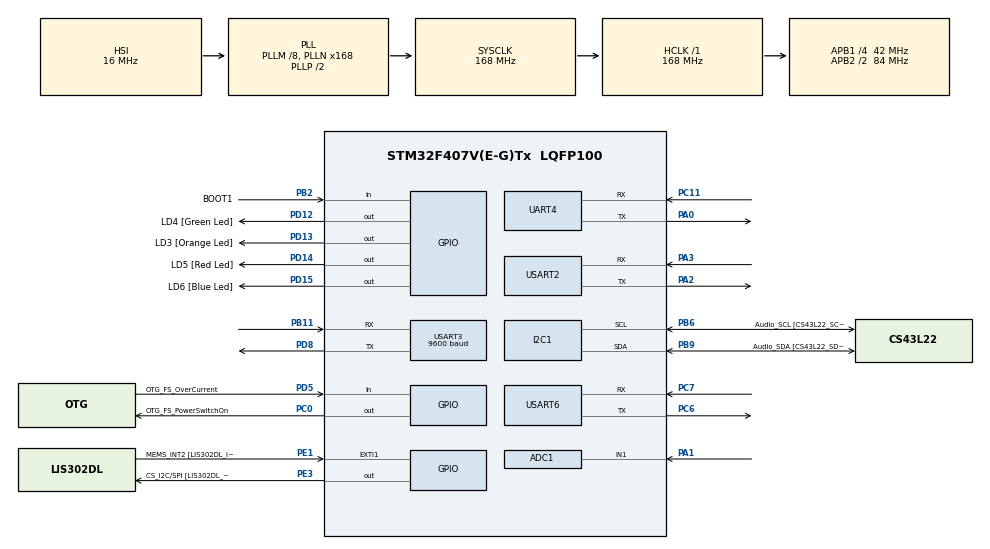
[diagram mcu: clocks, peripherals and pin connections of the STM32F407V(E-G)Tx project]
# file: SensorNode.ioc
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ADC1.Channel-0\#ChannelRegularConversion=ADC_CHANNEL_1
ADC1.NbrOfConversionFlag=1
ADC1.Rank-0\#ChannelRegularConversion=1
ADC1.SamplingTime-0\#ChannelRegularConversion=ADC_SAMPLETIME_3CYCLES
ADC1.master=1
Dma.Request0=USART2_TX
Dma.USART2_TX.0.Direction=DMA_MEMORY_TO_PERIPH
Dma.USART2_TX.0.FIFOMode=DMA_FIFOMODE_DISABLE
Dma.USART2_TX.0.Instance=DMA1_Stream6
Dma.USART2_TX.0.MemDataAlignment=DMA_MDATAALIGN_BYTE
Dma.USART2_TX.0.MemInc=DMA_MINC_ENABLE
Dma.USART2_TX.0.Mode=DMA_NORMAL
Dma.USART2_TX.0.PeriphDataAlignment=DMA_PDATAALIGN_BYTE
Dma.USART2_TX.0.PeriphInc=DMA_PINC_DISABLE
Dma.USART2_TX.0.Priority=DMA_PRIORITY_LOW
Mcu.Family=STM32F4
Mcu.Name=STM32F407V(E-G)Tx
Mcu.Package=LQFP100
NVIC.DMA1_Stream6_IRQn=true\:0\:0\:false\:false\:true\:false\:true\:true
NVIC.PriorityGroup=NVIC_PRIORITYGROUP_4
NVIC.TIM6_DAC_IRQn=true\:0\:0\:false\:false\:true\:false\:true\:true
NVIC.TimeBase=TIM6_DAC_IRQn
NVIC.TimeBaseIP=TIM6
NVIC.USART2_IRQn=true\:0\:0\:false\:false\:true\:true\:true\:true
NVIC.USART6_IRQn=true\:0\:0\:false\:false\:true\:true\:true\:true
PA0-WKUP.Mode=Asynchronous
PA0-WKUP.Signal=UART4_TX
PA1.Signal=ADCx_IN1
PA10.GPIO_Label=OTG_FS_ID
PA10.GPIO_Mode=GPIO_MODE_AF_PP
PA10.GPIO_PuPd=GPIO_NOPULL
PA10.GPIO_Speed=GPIO_SPEED_FREQ_LOW
PA10.Signal=USB_OTG_FS_ID
PA11.GPIO_Label=OTG_FS_DM
PA11.GPIO_Mode=GPIO_MODE_AF_PP
PA11.GPIO_PuPd=GPIO_NOPULL
PA11.GPIO_Speed=GPIO_SPEED_FREQ_LOW
PA11.Signal=USB_OTG_FS_DM
PA12.GPIO_Label=OTG_FS_DP
PA12.GPIO_Mode=GPIO_MODE_AF_PP
PA12.GPIO_PuPd=GPIO_NOPULL
PA12.GPIO_Speed=GPIO_SPEED_FREQ_LOW
PA12.Signal=USB_OTG_FS_DP
PA13.GPIO_Label=SWDIO
PA13.Signal=SYS_JTMS-SWDIO
PA14.GPIO_Label=SWCLK
PA14.Signal=SYS_JTCK-SWCLK
PA2.Mode=Asynchronous
PA2.Signal=USART2_TX
PA3.Mode=Asynchronous
PA3.Signal=USART2_RX
PA4.GPIO_Label=I2S3_WS [CS43L22_LRCK]
PA4.GPIO_Mode=GPIO_MODE_AF_PP
PA4.GPIO_PuPd=GPIO_NOPULL
PA4.GPIO_Speed=GPIO_SPEED_FREQ_LOW
PA4.Signal=I2S3_WS
PA5.GPIO_Label=SPI1_SCK [LIS302DL_SCL/SPC]
PA5.GPIO_Mode=GPIO_MODE_AF_PP
PA5.GPIO_PuPd=GPIO_NOPULL
PA5.GPIO_Speed=GPIO_SPEED_FREQ_LOW
PA5.Signal=SPI1_SCK
PA6.GPIO_Label=SPI1_MISO [LIS302DL_SDO]
PA6.GPIO_Mode=GPIO_MODE_AF_PP
PA6.GPIO_PuPd=GPIO_NOPULL
PA6.GPIO_Speed=GPIO_SPEED_FREQ_LOW
PA6.Signal=SPI1_MISO
PA7.GPIO_Label=SPI1_MOSI [LIS302DL_SDA/SDI/SDO]
PA7.GPIO_Mode=GPIO_MODE_AF_PP
PA7.GPIO_PuPd=GPIO_NOPULL
PA7.GPIO_Speed=GPIO_SPEED_FREQ_LOW
PA7.Signal=SPI1_MOSI
PA9.GPIO_Label=VBUS_FS
PA9.GPIO_Mode=GPIO_MODE_INPUT
PA9.GPIO_PuPd=GPIO_NOPULL
PA9.Signal=USB_OTG_FS_VBUS
PB10.GPIO_Label=CLK_IN [MP45DT02_CLK]
PB10.GPIO_Mode=GPIO_MODE_AF_PP
PB10.GPIO_PuPd=GPIO_NOPULL
PB10.GPIO_Speed=GPIO_SPEED_FREQ_LOW
PB10.Signal=I2S2_CK
PB11.Mode=Asynchronous
PB11.Signal=USART3_RX
PB2.GPIO_Label=BOOT1
PB2.GPIO_Mode=GPIO_MODE_INPUT
PB2.GPIO_PuPd=GPIO_NOPULL
PB2.Signal=GPIO_Input
PB3.GPIO_Label=SWO
PB3.Signal=SYS_JTDO-SWO
PB6.GPIO_Label=Audio_SCL [CS43L22_SCL]
PB6.GPIO_Mode=GPIO_MODE_AF_OD
PB6.GPIO_PuPd=GPIO_NOPULL
PB6.GPIO_Speed=GPIO_SPEED_FREQ_LOW
PB6.Mode=I2C
PB6.Signal=I2C1_SCL
PB9.GPIO_Label=Audio_SDA [CS43L22_SDA]
PB9.GPIO_Mode=GPIO_MODE_AF_OD
PB9.GPIO_PuPd=GPIO_NOPULL
PB9.GPIO_Speed=GPIO_SPEED_FREQ_LOW
PB9.Mode=I2C
PB9.Signal=I2C1_SDA
PC0.GPIO_Label=OTG_FS_PowerSwitchOn
PC0.GPIO_PuPd=GPIO_NOPULL
PC0.GPIO_Speed=GPIO_SPEED_FREQ_LOW
PC0.PinState=GPIO_PIN_SET
PC0.Signal=GPIO_Output
PC10.GPIO_Label=I2S3_SCK [CS43L22_SCLK]
PC10.GPIO_Mode=GPIO_MODE_AF_PP
PC10.GPIO_PuPd=GPIO_NOPULL
PC10.GPIO_Speed=GPIO_SPEED_FREQ_LOW
PC10.Signal=I2S3_CK
PC11.Mode=Asynchronous
PC11.Signal=UART4_RX
PC12.GPIO_Label=I2S3_SD [CS43L22_SDIN]
PC12.GPIO_Mode=GPIO_MODE_AF_PP
PC12.GPIO_PuPd=GPIO_NOPULL
PC12.GPIO_Speed=GPIO_SPEED_FREQ_LOW
PC12.Signal=I2S3_SD
PC14-OSC32_IN.GPIO_Label=PC14-OSC32_IN
PC14-OSC32_IN.Signal=RCC_OSC32_IN
PC15-OSC32_OUT.GPIO_Label=PC15-OSC32_OUT
PC15-OSC32_OUT.Signal=RCC_OSC32_OUT
PC3.GPIO_Label=PDM_OUT [MP45DT02_DOUT]
PC3.GPIO_Mode=GPIO_MODE_AF_PP
PC3.GPIO_PuPd=GPIO_NOPULL
PC3.GPIO_Speed=GPIO_SPEED_FREQ_LOW
PC3.Signal=I2S2_SD
PC6.Mode=Asynchronous
PC6.Signal=USART6_TX
PC7.Mode=Asynchronous
PC7.Signal=USART6_RX
PD12.GPIO_Label=LD4 [Green Led]
PD12.GPIO_PuPd=GPIO_NOPULL
PD12.GPIO_Speed=GPIO_SPEED_FREQ_LOW
PD12.Signal=GPIO_Output
PD13.GPIO_Label=LD3 [Orange Led]
PD13.GPIO_PuPd=GPIO_NOPULL
PD13.GPIO_Speed=GPIO_SPEED_FREQ_LOW
PD13.Signal=GPIO_Output
PD14.GPIO_Label=LD5 [Red Led]
PD14.GPIO_PuPd=GPIO_NOPULL
PD14.GPIO_Speed=GPIO_SPEED_FREQ_LOW
PD14.Signal=GPIO_Output
PD15.GPIO_Label=LD6 [Blue Led]
PD15.GPIO_PuPd=GPIO_NOPULL
PD15.GPIO_Speed=GPIO_SPEED_FREQ_LOW
PD15.Signal=GPIO_Output
PD5.GPIO_Label=OTG_FS_OverCurrent
PD5.GPIO_Mode=GPIO_MODE_INPUT
PD5.GPIO_PuPd=GPIO_NOPULL
PD5.Signal=GPIO_Input
PD8.Mode=Asynchronous
PD8.Signal=USART3_TX
PE1.GPIO_Label=MEMS_INT2 [LIS302DL_INT2]
PE1.GPIO_ModeDefaultEXTI=GPIO_MODE_EVT_RISING
PE1.GPIO_PuPd=GPIO_NOPULL
PE1.Signal=GPXTI1
PE3.GPIO_Label=CS_I2C/SPI [LIS302DL_CS_I2C/SPI]
PE3.GPIO_PuPd=GPIO_NOPULL
PE3.GPIO_Speed=GPIO_SPEED_FREQ_LOW
PE3.Signal=GPIO_Output
PH0-OSC_IN.GPIO_Label=PH0-OSC_IN
PH0-OSC_IN.Signal=RCC_OSC_IN
PH1-OSC_OUT.GPIO_Label=PH1-OSC_OUT
PH1-OSC_OUT.Signal=RCC_OSC_OUT
ProjectManager.HeapSize=0x200
ProjectManager.StackSize=0x400
ProjectManager.TargetToolchain=STM32CubeIDE
RCC.48MHZClocksFreq_Value=48000000
RCC.AHBFreq_Value=168000000
RCC.APB1CLKDivider=RCC_HCLK_DIV4
RCC.APB1Freq_Value=42000000
RCC.APB1TimFreq_Value=84000000
RCC.APB2CLKDivider=RCC_HCLK_DIV2
RCC.APB2Freq_Value=84000000
RCC.APB2TimFreq_Value=168000000
RCC.CortexFreq_Value=168000000
RCC.HCLKFreq_Value=168000000
RCC.HSE_VALUE=8000000
RCC.HSI_VALUE=16000000
RCC.LSE_VALUE=32768
RCC.PLLM=8
RCC.PLLN=168
RCC.PLLQ=7
RCC.SYSCLKFreq_VALUE=168000000
RCC.SYSCLKSource=RCC_SYSCLKSOURCE_PLLCLK
RCC.VCOOutputFreq_Value=336000000
RTC.Date=18
RTC.Hours=17
RTC.Minutes=30
RTC.Month=RTC_MONTH_MAY
RTC.Seconds=59
RTC.WeekDay=RTC_WEEKDAY_SUNDAY
RTC.Year=25
SH.ADCx_IN1.0=ADC1_IN1,IN1
UART4.VirtualMode=Asynchronous
USART2.VirtualMode=VM_ASYNC
USART3.BaudRate=9600
USART3.VirtualMode=VM_ASYNC
USART6.VirtualMode=VM_ASYNC
VP_RTC_VS_RTC_Activate.Mode=RTC_Enabled
VP_RTC_VS_RTC_Calendar.Mode=RTC_Calendar
VP_SYS_VS_tim6.Mode=TIM6
board=STM32F407G-DISC1

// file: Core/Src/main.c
/* USER CODE BEGIN Header */
/**
  ******************************************************************************
  * @file           : main.c
  * @brief          : Main program body
  ******************************************************************************
  * @attention
  *
  * Copyright (c) 2024 STMicroelectronics.
  * All rights reserved.
  *
  * This software is licensed under terms that can be found in the LICENSE file
  * in the root directory of this software component.
  * If no LICENSE file comes with this software, it is provided AS-IS.
  *
  ******************************************************************************
  */
/* USER CODE END Header */
#include "main.h"

/* USER CODE BEGIN Includes */
#include <stdio.h>
#include "FreeRTOS.h"
#include "task.h"
#include "semphr.h"
#include "pzem004t.h"
#include "gp2y1010au0f.h"
#include "sensor_data.h"
#include <string.h>
#include <time.h>
#include "sht2x.h"
#include "uart.h"
/* USER CODE END Includes */

ADC_HandleTypeDef hadc1;

I2C_HandleTypeDef hi2c1;

RTC_HandleTypeDef hrtc;

UART_HandleTypeDef huart4;
UART_HandleTypeDef huart2;
UART_HandleTypeDef huart3;
UART_HandleTypeDef huart6;
DMA_HandleTypeDef hdma_usart2_tx;

/* USER CODE BEGIN PV */
#define DWT_CTRL (*(volatile uint32_t*)0xE0001000)
int __io_putchar(int ch) {
    HAL_UART_Transmit(&huart2, (uint8_t *)&ch, 1, HAL_MAX_DELAY);
    return ch;
}
/* USER CODE END PV */

void SystemClock_Config(void);
static void MX_GPIO_Init(void);
static void MX_DMA_Init(void);
static void MX_USART3_UART_Init(void);
static void MX_USART2_UART_Init(void);
static void MX_USART6_UART_Init(void);
static void MX_ADC1_Init(void);
static void MX_UART4_Init(void);
static void MX_RTC_Init(void);
static void MX_I2C1_Init(void);
/* USER CODE BEGIN PFP */
static uint32_t getCurrentTime();
static void monitor_energy(void* parameters);
static void monitor_dust(void* parameters);
static void send_uart(void* parameters);
static void cli_handle_task(void* parameters);
/* USER CODE END PFP */

/* USER CODE BEGIN 0 */

SemaphoreHandle_t xSensorMutex;
SemaphoreHandle_t xPZEMUpdated;
SemaphoreHandle_t xDustUpdated;

PZEM004T energySensor;

GP2Y1010_HandleTypeDef dustSensor = {
	.LED_GPIO_Port = GPIOB,
	.LED_Pin = GPIO_PIN_1,
	.hadc = &hadc1,
	.Vcc = 5.0f
};
uint8_t rx_data;
static uint8_t rx_byte = 0;
sensor_data_t sensorData;
float fake_dust_density = 0;
static uint16_t sequenceId = 0;
uint8_t sensorDataBuffer[sizeof(sensor_data_t)];
/* USER CODE END 0 */

int main(void)
{

  /* USER CODE BEGIN 1 */
	TaskHandle_t monitor_energy_handle;
	TaskHandle_t monitor_dust_handle;
	TaskHandle_t send_uart_handle;
	TaskHandle_t command_line_interface_handle;
	BaseType_t status;

  /* USER CODE END 1 */

  /* MCU Configuration--------------------------------------------------------*/

  /* Reset of all peripherals, Initializes the Flash interface and the Systick. */
																																																																																																																			HAL_Init();

  /* Configure the system clock */
  SystemClock_Config();

  /* Initialize all configured peripherals */
  MX_GPIO_Init();
  MX_DMA_Init();
  MX_USART3_UART_Init();
  MX_USART2_UART_Init();
  MX_USART6_UART_Init();
  MX_ADC1_Init();
  MX_UART4_Init();
  MX_RTC_Init();
  MX_I2C1_Init();
  /* USER CODE BEGIN 2 */
  CLI_UART_Init(&huart2);
  HAL_UART_Receive_IT(&huart2, &rx_byte, 1);
  //Enable the CYCCNT counter.
//  CoreDebug->DEMCR |= CoreDebug_DEMCR_TRCENA_Msk;
//  DWT->CYCCNT = 0;
//  DWT_CTRL |= (1 << 0);

//  SEGGER_UART_init(921600);
//  SEGGER_SYSVIEW_Conf();
//  SEGGER_SYSVIEW_Start();
  while (!PZEM004T_Init(&huart3, &energySensor));
  GP2Y1010_Init(&dustSensor);
  SHT2x_Init(&hi2c1);
  SHT2x_SetResolution(RES_14_12);
  xSensorMutex = xSemaphoreCreateMutex();
  configASSERT(xSensorMutex != NULL);

  xPZEMUpdated = xSemaphoreCreateBinary();
  configASSERT(xPZEMUpdated != NULL);

  xDustUpdated = xSemaphoreCreateBinary();
  configASSERT(xDustUpdated != NULL);

  status = xTaskCreate(monitor_energy, "EnergyMonitorTask", 200, NULL, 2, &monitor_energy_handle);
  configASSERT(status == pdPASS);
  status = xTaskCreate(monitor_dust, "DustMonitorTask", 200, NULL, 2, &monitor_dust_handle);
  configASSERT(status == pdPASS);
  status = xTaskCreate(send_uart, "SendSensorDataUART", 1024, NULL, 2, &send_uart_handle);
  configASSERT(status == pdPASS);
  status = xTaskCreate(cli_handle_task, "CommandLineInterfaceTask", 200, NULL, 2, &command_line_interface_handle);
  configASSERT(status == pdPASS);
  /* USER CODE END 2 */

  /* Infinite loop */
  /* USER CODE BEGIN WHILE */
  vTaskStartScheduler();
  while (1)
  {
    /* USER CODE END WHILE */

  }
}

void SystemClock_Config(void)
{
  RCC_OscInitTypeDef RCC_OscInitStruct = {0};
  RCC_ClkInitTypeDef RCC_ClkInitStruct = {0};

  /** Configure the main internal regulator output voltage
  */
  __HAL_RCC_PWR_CLK_ENABLE();
  __HAL_PWR_VOLTAGESCALING_CONFIG(PWR_REGULATOR_VOLTAGE_SCALE1);

  /** Initializes the RCC Oscillators according to the specified parameters
  * in the RCC_OscInitTypeDef structure.
  */
  RCC_OscInitStruct.OscillatorType = RCC_OSCILLATORTYPE_HSI|RCC_OSCILLATORTYPE_LSI;
  RCC_OscInitStruct.HSIState = RCC_HSI_ON;
  RCC_OscInitStruct.HSICalibrationValue = RCC_HSICALIBRATION_DEFAULT;
  RCC_OscInitStruct.LSIState = RCC_LSI_ON;
  RCC_OscInitStruct.PLL.PLLState = RCC_PLL_ON;
  RCC_OscInitStruct.PLL.PLLSource = RCC_PLLSOURCE_HSI;
  RCC_OscInitStruct.PLL.PLLM = 8;
  RCC_OscInitStruct.PLL.PLLN = 168;
  RCC_OscInitStruct.PLL.PLLP = RCC_PLLP_DIV2;
  RCC_OscInitStruct.PLL.PLLQ = 7;
  if (HAL_RCC_OscConfig(&RCC_OscInitStruct) != HAL_OK)
  {
    Error_Handler();
  }

  /** Initializes the CPU, AHB and APB buses clocks
  */
  RCC_ClkInitStruct.ClockType = RCC_CLOCKTYPE_HCLK|RCC_CLOCKTYPE_SYSCLK
                              |RCC_CLOCKTYPE_PCLK1|RCC_CLOCKTYPE_PCLK2;
  RCC_ClkInitStruct.SYSCLKSource = RCC_SYSCLKSOURCE_PLLCLK;
  RCC_ClkInitStruct.AHBCLKDivider = RCC_SYSCLK_DIV1;
  RCC_ClkInitStruct.APB1CLKDivider = RCC_HCLK_DIV4;
  RCC_ClkInitStruct.APB2CLKDivider = RCC_HCLK_DIV2;

  if (HAL_RCC_ClockConfig(&RCC_ClkInitStruct, FLASH_LATENCY_5) != HAL_OK)
  {
    Error_Handler();
  }
}

static void MX_ADC1_Init(void)
{

  ADC_ChannelConfTypeDef sConfig = {0};

  /** Configure the global features of the ADC (Clock, Resolution, Data Alignment and number of conversion)
  */
  hadc1.Instance = ADC1;
  hadc1.Init.ClockPrescaler = ADC_CLOCK_SYNC_PCLK_DIV4;
  hadc1.Init.Resolution = ADC_RESOLUTION_12B;
  hadc1.Init.ScanConvMode = DISABLE;
  hadc1.Init.ContinuousConvMode = DISABLE;
  hadc1.Init.DiscontinuousConvMode = DISABLE;
  hadc1.Init.ExternalTrigConvEdge = ADC_EXTERNALTRIGCONVEDGE_NONE;
  hadc1.Init.ExternalTrigConv = ADC_SOFTWARE_START;
  hadc1.Init.DataAlign = ADC_DATAALIGN_RIGHT;
  hadc1.Init.NbrOfConversion = 1;
  hadc1.Init.DMAContinuousRequests = DISABLE;
  hadc1.Init.EOCSelection = ADC_EOC_SINGLE_CONV;
  if (HAL_ADC_Init(&hadc1) != HAL_OK)
  {
    Error_Handler();
  }

  /** Configure for the selected ADC regular channel its corresponding rank in the sequencer and its sample time.
  */
  sConfig.Channel = ADC_CHANNEL_1;
  sConfig.Rank = 1;
  sConfig.SamplingTime = ADC_SAMPLETIME_3CYCLES;
  if (HAL_ADC_ConfigChannel(&hadc1, &sConfig) != HAL_OK)
  {
    Error_Handler();
  }

}

static void MX_I2C1_Init(void)
{

  hi2c1.Instance = I2C1;
  hi2c1.Init.ClockSpeed = 100000;
  hi2c1.Init.DutyCycle = I2C_DUTYCYCLE_2;
  hi2c1.Init.OwnAddress1 = 0;
  hi2c1.Init.AddressingMode = I2C_ADDRESSINGMODE_7BIT;
  hi2c1.Init.DualAddressMode = I2C_DUALADDRESS_DISABLE;
  hi2c1.Init.OwnAddress2 = 0;
  hi2c1.Init.GeneralCallMode = I2C_GENERALCALL_DISABLE;
  hi2c1.Init.NoStretchMode = I2C_NOSTRETCH_DISABLE;
  if (HAL_I2C_Init(&hi2c1) != HAL_OK)
  {
    Error_Handler();
  }

}

static void MX_RTC_Init(void)
{

  RTC_TimeTypeDef sTime = {0};
  RTC_DateTypeDef sDate = {0};

  /** Initialize RTC Only
  */
  hrtc.Instance = RTC;
  hrtc.Init.HourFormat = RTC_HOURFORMAT_24;
  hrtc.Init.AsynchPrediv = 127;
  hrtc.Init.SynchPrediv = 255;
  hrtc.Init.OutPut = RTC_OUTPUT_DISABLE;
  hrtc.Init.OutPutPolarity = RTC_OUTPUT_POLARITY_HIGH;
  hrtc.Init.OutPutType = RTC_OUTPUT_TYPE_OPENDRAIN;
  if (HAL_RTC_Init(&hrtc) != HAL_OK)
  {
    Error_Handler();
  }

  /** Initialize RTC and set the Time and Date
  */
  sTime.Hours = 0x17;
  sTime.Minutes = 0x30;
  sTime.Seconds = 0x59;
  sTime.DayLightSaving = RTC_DAYLIGHTSAVING_NONE;
  sTime.StoreOperation = RTC_STOREOPERATION_RESET;
  if (HAL_RTC_SetTime(&hrtc, &sTime, RTC_FORMAT_BCD) != HAL_OK)
  {
    Error_Handler();
  }
  sDate.WeekDay = RTC_WEEKDAY_SUNDAY;
  sDate.Month = RTC_MONTH_MAY;
  sDate.Date = 0x18;
  sDate.Year = 0x25;

  if (HAL_RTC_SetDate(&hrtc, &sDate, RTC_FORMAT_BCD) != HAL_OK)
  {
    Error_Handler();
  }

}

static void MX_UART4_Init(void)
{

  huart4.Instance = UART4;
  huart4.Init.BaudRate = 115200;
  huart4.Init.WordLength = UART_WORDLENGTH_8B;
  huart4.Init.StopBits = UART_STOPBITS_1;
  huart4.Init.Parity = UART_PARITY_NONE;
  huart4.Init.Mode = UART_MODE_TX_RX;
  huart4.Init.HwFlowCtl = UART_HWCONTROL_NONE;
  huart4.Init.OverSampling = UART_OVERSAMPLING_16;
  if (HAL_UART_Init(&huart4) != HAL_OK)
  {
    Error_Handler();
  }

}

static void MX_USART2_UART_Init(void)
{

  huart2.Instance = USART2;
  huart2.Init.BaudRate = 115200;
  huart2.Init.WordLength = UART_WORDLENGTH_8B;
  huart2.Init.StopBits = UART_STOPBITS_1;
  huart2.Init.Parity = UART_PARITY_NONE;
  huart2.Init.Mode = UART_MODE_TX_RX;
  huart2.Init.HwFlowCtl = UART_HWCONTROL_NONE;
  huart2.Init.OverSampling = UART_OVERSAMPLING_16;
  if (HAL_UART_Init(&huart2) != HAL_OK)
  {
    Error_Handler();
  }

}

static void MX_USART3_UART_Init(void)
{

  huart3.Instance = USART3;
  huart3.Init.BaudRate = 9600;
  huart3.Init.WordLength = UART_WORDLENGTH_8B;
  huart3.Init.StopBits = UART_STOPBITS_1;
  huart3.Init.Parity = UART_PARITY_NONE;
  huart3.Init.Mode = UART_MODE_TX_RX;
  huart3.Init.HwFlowCtl = UART_HWCONTROL_NONE;
  huart3.Init.OverSampling = UART_OVERSAMPLING_16;
  if (HAL_UART_Init(&huart3) != HAL_OK)
  {
    Error_Handler();
  }

}

static void MX_USART6_UART_Init(void)
{

  huart6.Instance = USART6;
  huart6.Init.BaudRate = 115200;
  huart6.Init.WordLength = UART_WORDLENGTH_8B;
  huart6.Init.StopBits = UART_STOPBITS_1;
  huart6.Init.Parity = UART_PARITY_NONE;
  huart6.Init.Mode = UART_MODE_TX_RX;
  huart6.Init.HwFlowCtl = UART_HWCONTROL_NONE;
  huart6.Init.OverSampling = UART_OVERSAMPLING_16;
  if (HAL_UART_Init(&huart6) != HAL_OK)
  {
    Error_Handler();
  }

}

static void MX_DMA_Init(void)
{

  /* DMA controller clock enable */
  __HAL_RCC_DMA1_CLK_ENABLE();

  /* DMA interrupt init */
  /* DMA1_Stream6_IRQn interrupt configuration */
  HAL_NVIC_SetPriority(DMA1_Stream6_IRQn, 0, 0);
  HAL_NVIC_EnableIRQ(DMA1_Stream6_IRQn);

}

static void MX_GPIO_Init(void)
{
  GPIO_InitTypeDef GPIO_InitStruct = {0};

  /* GPIO Ports Clock Enable */
  __HAL_RCC_GPIOE_CLK_ENABLE();
  __HAL_RCC_GPIOC_CLK_ENABLE();
  __HAL_RCC_GPIOH_CLK_ENABLE();
  __HAL_RCC_GPIOA_CLK_ENABLE();
  __HAL_RCC_GPIOB_CLK_ENABLE();
  __HAL_RCC_GPIOD_CLK_ENABLE();

  /*Configure GPIO pin Output Level */
  HAL_GPIO_WritePin(CS_I2C_SPI_GPIO_Port, CS_I2C_SPI_Pin, GPIO_PIN_RESET);

  /*Configure GPIO pin Output Level */
  HAL_GPIO_WritePin(OTG_FS_PowerSwitchOn_GPIO_Port, OTG_FS_PowerSwitchOn_Pin, GPIO_PIN_SET);

  /*Configure GPIO pin Output Level */
  HAL_GPIO_WritePin(GPIOD, LD4_Pin|LD3_Pin|LD5_Pin|LD6_Pin, GPIO_PIN_RESET);

  /*Configure GPIO pin : CS_I2C_SPI_Pin */
  GPIO_InitStruct.Pin = CS_I2C_SPI_Pin;
  GPIO_InitStruct.Mode = GPIO_MODE_OUTPUT_PP;
  GPIO_InitStruct.Pull = GPIO_NOPULL;
  GPIO_InitStruct.Speed = GPIO_SPEED_FREQ_LOW;
  HAL_GPIO_Init(CS_I2C_SPI_GPIO_Port, &GPIO_InitStruct);

  /*Configure GPIO pin : OTG_FS_PowerSwitchOn_Pin */
  GPIO_InitStruct.Pin = OTG_FS_PowerSwitchOn_Pin;
  GPIO_InitStruct.Mode = GPIO_MODE_OUTPUT_PP;
  GPIO_InitStruct.Pull = GPIO_NOPULL;
  GPIO_InitStruct.Speed = GPIO_SPEED_FREQ_LOW;
  HAL_GPIO_Init(OTG_FS_PowerSwitchOn_GPIO_Port, &GPIO_InitStruct);

  /*Configure GPIO pin : PDM_OUT_Pin */
  GPIO_InitStruct.Pin = PDM_OUT_Pin;
  GPIO_InitStruct.Mode = GPIO_MODE_AF_PP;
  GPIO_InitStruct.Pull = GPIO_NOPULL;
  GPIO_InitStruct.Speed = GPIO_SPEED_FREQ_LOW;
  GPIO_InitStruct.Alternate = GPIO_AF5_SPI2;
  HAL_GPIO_Init(PDM_OUT_GPIO_Port, &GPIO_InitStruct);

  /*Configure GPIO pin : I2S3_WS_Pin */
  GPIO_InitStruct.Pin = I2S3_WS_Pin;
  GPIO_InitStruct.Mode = GPIO_MODE_AF_PP;
  GPIO_InitStruct.Pull = GPIO_NOPULL;
  GPIO_InitStruct.Speed = GPIO_SPEED_FREQ_LOW;
  GPIO_InitStruct.Alternate = GPIO_AF6_SPI3;
  HAL_GPIO_Init(I2S3_WS_GPIO_Port, &GPIO_InitStruct);

  /*Configure GPIO pins : SPI1_SCK_Pin SPI1_MISO_Pin SPI1_MOSI_Pin */
  GPIO_InitStruct.Pin = SPI1_SCK_Pin|SPI1_MISO_Pin|SPI1_MOSI_Pin;
  GPIO_InitStruct.Mode = GPIO_MODE_AF_PP;
  GPIO_InitStruct.Pull = GPIO_NOPULL;
  GPIO_InitStruct.Speed = GPIO_SPEED_FREQ_LOW;
  GPIO_InitStruct.Alternate = GPIO_AF5_SPI1;
  HAL_GPIO_Init(GPIOA, &GPIO_InitStruct);

  /*Configure GPIO pin : BOOT1_Pin */
  GPIO_InitStruct.Pin = BOOT1_Pin;
  GPIO_InitStruct.Mode = GPIO_MODE_INPUT;
  GPIO_InitStruct.Pull = GPIO_NOPULL;
  HAL_GPIO_Init(BOOT1_GPIO_Port, &GPIO_InitStruct);

  /*Configure GPIO pin : CLK_IN_Pin */
  GPIO_InitStruct.Pin = CLK_IN_Pin;
  GPIO_InitStruct.Mode = GPIO_MODE_AF_PP;
  GPIO_InitStruct.Pull = GPIO_NOPULL;
  GPIO_InitStruct.Speed = GPIO_SPEED_FREQ_LOW;
  GPIO_InitStruct.Alternate = GPIO_AF5_SPI2;
  HAL_GPIO_Init(CLK_IN_GPIO_Port, &GPIO_InitStruct);

  /*Configure GPIO pins : LD4_Pin LD3_Pin LD5_Pin LD6_Pin */
  GPIO_InitStruct.Pin = LD4_Pin|LD3_Pin|LD5_Pin|LD6_Pin;
  GPIO_InitStruct.Mode = GPIO_MODE_OUTPUT_PP;
  GPIO_InitStruct.Pull = GPIO_NOPULL;
  GPIO_InitStruct.Speed = GPIO_SPEED_FREQ_LOW;
  HAL_GPIO_Init(GPIOD, &GPIO_InitStruct);

  /*Configure GPIO pin : VBUS_FS_Pin */
  GPIO_InitStruct.Pin = VBUS_FS_Pin;
  GPIO_InitStruct.Mode = GPIO_MODE_INPUT;
  GPIO_InitStruct.Pull = GPIO_NOPULL;
  HAL_GPIO_Init(VBUS_FS_GPIO_Port, &GPIO_InitStruct);

  /*Configure GPIO pins : OTG_FS_ID_Pin OTG_FS_DM_Pin OTG_FS_DP_Pin */
  GPIO_InitStruct.Pin = OTG_FS_ID_Pin|OTG_FS_DM_Pin|OTG_FS_DP_Pin;
  GPIO_InitStruct.Mode = GPIO_MODE_AF_PP;
  GPIO_InitStruct.Pull = GPIO_NOPULL;
  GPIO_InitStruct.Speed = GPIO_SPEED_FREQ_LOW;
  GPIO_InitStruct.Alternate = GPIO_AF10_OTG_FS;
  HAL_GPIO_Init(GPIOA, &GPIO_InitStruct);

  /*Configure GPIO pins : I2S3_SCK_Pin I2S3_SD_Pin */
  GPIO_InitStruct.Pin = I2S3_SCK_Pin|I2S3_SD_Pin;
  GPIO_InitStruct.Mode = GPIO_MODE_AF_PP;
  GPIO_InitStruct.Pull = GPIO_NOPULL;
  GPIO_InitStruct.Speed = GPIO_SPEED_FREQ_LOW;
  GPIO_InitStruct.Alternate = GPIO_AF6_SPI3;
  HAL_GPIO_Init(GPIOC, &GPIO_InitStruct);

  /*Configure GPIO pin : OTG_FS_OverCurrent_Pin */
  GPIO_InitStruct.Pin = OTG_FS_OverCurrent_Pin;
  GPIO_InitStruct.Mode = GPIO_MODE_INPUT;
  GPIO_InitStruct.Pull = GPIO_NOPULL;
  HAL_GPIO_Init(OTG_FS_OverCurrent_GPIO_Port, &GPIO_InitStruct);

  /*Configure GPIO pin : MEMS_INT2_Pin */
  GPIO_InitStruct.Pin = MEMS_INT2_Pin;
  GPIO_InitStruct.Mode = GPIO_MODE_EVT_RISING;
  GPIO_InitStruct.Pull = GPIO_NOPULL;
  HAL_GPIO_Init(MEMS_INT2_GPIO_Port, &GPIO_InitStruct);

}

/* USER CODE BEGIN 4 */
static void monitor_energy(void* parameters)
{
	for (;;)
	{
		if (xSemaphoreTake(xSensorMutex, portMAX_DELAY)) {
			if (PZEM004T_ReadData(&energySensor) == PZEM004T_SUCESS){
				sensorData.current = energySensor.data.current;
				sensorData.voltage = energySensor.data.voltage;
				sensorData.power = energySensor.data.power;
				sensorData.energy = energySensor.data.energy;
				sensorData.pf = energySensor.data.pf;
				sensorData.frequency = energySensor.data.frequency;
			}
			else
			{
				sensorData.current = 0.0;
				sensorData.voltage = 0.0;
				sensorData.power = 0.0;
				sensorData.energy = 0.0;
				sensorData.pf = 0.0;
				sensorData.frequency = 0.0;
			}
			xSemaphoreGive(xSensorMutex);
		}
		xSemaphoreGive(xPZEMUpdated);
		vTaskDelay(pdMS_TO_TICKS(1000));
	}
}
static void monitor_dust(void* parameters)
{
	for (;;)
	{
		if (xSemaphoreTake(xSensorMutex, portMAX_DELAY)) {
			sensorData.temperature = SHT2x_GetTemperature(1);
			sensorData.humidity = SHT2x_GetRelativeHumidity(1);
			sensorData.dust_density = fake_dust_density++;
			xSemaphoreGive(xSensorMutex);
		}
		xSemaphoreGive(xDustUpdated);
		vTaskDelay(pdMS_TO_TICKS(1000));
	}
}
static void send_uart(void* parameters)
{
	char jsonBuffer[256];
	for (;;)
	{
		if (xSemaphoreTake(xPZEMUpdated, portMAX_DELAY) == pdTRUE &&
		    xSemaphoreTake(xDustUpdated, portMAX_DELAY) == pdTRUE) {
			sensor_data_t temp;
			if (xSemaphoreTake(xSensorMutex, portMAX_DELAY)) {
				temp = sensorData;
			    temp.time_stamp = getCurrentTime();
				xSemaphoreGive(xSensorMutex);
			}
            int len = snprintf(jsonBuffer, sizeof(jsonBuffer),
                "{\"voltage\":%.2f,\"current\":%.2f,\"power\":%.2f,\"energy\":%.2f,"
                "\"pf\":%.2f,\"frequency\":%.2f,\"dust_density\":%.2f,\"time_stamp\":%lu,"
                "\"temperature\":%.2f,\"humidity\":%.2f}\n",
                temp.voltage, temp.current, temp.power, temp.energy,
                temp.pf, temp.frequency, temp.dust_density,
                (unsigned long)temp.time_stamp, temp.temperature, temp.humidity);

            if (len > 0 && len < sizeof(jsonBuffer)) {
                HAL_UART_Transmit(&huart6, (uint8_t*)jsonBuffer, len, 100);
//                printf(jsonBuffer);
            }
			sequenceId++;
		}
		vTaskDelay(pdMS_TO_TICKS(1000));
	}
}

static void cli_handle_task(void* parameters)
{
	for (;;)
	{
		CLI_UART_Handle();
		vTaskDelay(pdMS_TO_TICKS(100));
	}
}

void HAL_UART_RxCpltCallback(UART_HandleTypeDef *huart)
{
    if (huart->Instance == USART2)
    {
    	CLI_UART_ReceiveData(rx_byte);
        HAL_UART_Receive_IT(&huart2, &rx_byte, 1);
    }

}

/**
 * @brief Convert RTC date and time (from HAL RTC) to Unix timestamp.
 *
 * This function converts the date and time values retrieved from the STM32 HAL RTC
 * peripheral (in RTC_DateTypeDef and RTC_TimeTypeDef structures) into a Unix timestamp.
 * The Unix timestamp represents the number of seconds elapsed since
 * January 1, 1970 (UTC).
 *
 * Note:
 * - HAL RTC Year field counts years from 2000, while struct tm counts from 1900.
 * - tm_mon expects months in range 0-11, but HAL RTC uses 1-12.
 * - mktime() converts the time as local time; if RTC time is UTC, consider implementing
 *   timegm() or equivalent to avoid timezone offset.
 *
 * @param date Pointer to RTC_DateTypeDef structure containing date information.
 * @param time Pointer to RTC_TimeTypeDef structure containing time information.
 * @return time_t Unix timestamp corresponding to the input date and time.
 */
static uint32_t getCurrentTime()
{
	RTC_TimeTypeDef time = {0};
	RTC_DateTypeDef date = {0};
    HAL_RTC_GetTime(&hrtc, &time, RTC_FORMAT_BIN);
    HAL_RTC_GetDate(&hrtc, &date, RTC_FORMAT_BIN);
    struct tm t;

    // Populate struct tm fields from HAL RTC date and time
    t.tm_year = (date.Year) + 100;  // Years since 1900, HAL counts from 2000, so add 100
    t.tm_mon  = date.Month - 1;     // Months since January [0-11], HAL months [1-12]
    t.tm_mday = date.Date;          // Day of the month [1-31]
    t.tm_hour = time.Hours;         // Hours [0-23]
    t.tm_min  = time.Minutes;       // Minutes [0-59]
    t.tm_sec  = time.Seconds;       // Seconds [0-59]
    t.tm_isdst = 0;                  // Daylight Saving Time flag (0 = no DST)

    // Convert struct tm to time_t (Unix timestamp)
    // mktime assumes input is local time.
    // mktime(&t);
    return (uint32_t)(mktime(&t));

}
/* USER CODE END 4 */

void HAL_TIM_PeriodElapsedCallback(TIM_HandleTypeDef *htim)
{
  if (htim->Instance == TIM6)
  {
    HAL_IncTick();
  }
}

void Error_Handler(void)
{
  __disable_irq();
  while (1)
  {
  }
}
